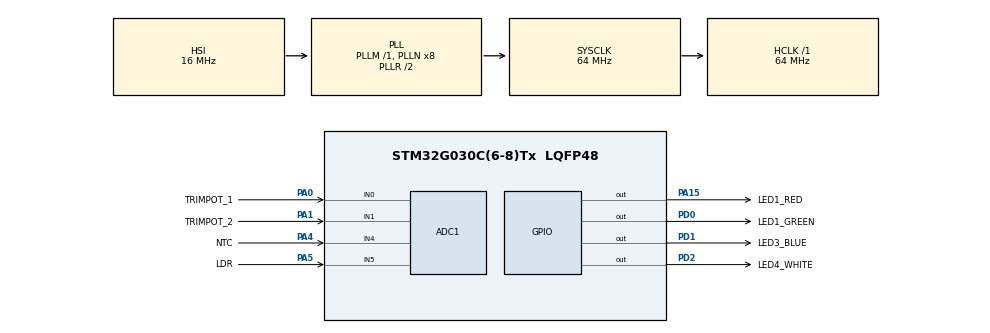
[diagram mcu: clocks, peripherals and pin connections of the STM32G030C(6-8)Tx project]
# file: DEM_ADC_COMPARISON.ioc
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ADC1.Channel-0\#ChannelRegularConversion=ADC_CHANNEL_0
ADC1.Channel-1\#ChannelRegularConversion=ADC_CHANNEL_1
ADC1.Channel-2\#ChannelRegularConversion=ADC_CHANNEL_4
ADC1.Channel-3\#ChannelRegularConversion=ADC_CHANNEL_5
ADC1.ClockPrescaler=ADC_CLOCK_SYNC_PCLK_DIV2
ADC1.ContinuousConvMode=DISABLE
ADC1.DMAContinuousRequests=ENABLE
ADC1.EOCSelection=ADC_EOC_SEQ_CONV
ADC1.ExternalTrigConv=ADC_EXTERNALTRIG_T1_TRGO2
ADC1.NbrOfConversion=4
ADC1.NbrOfConversionFlag=1
ADC1.Rank-0\#ChannelRegularConversion=1
ADC1.Rank-1\#ChannelRegularConversion=2
ADC1.Rank-2\#ChannelRegularConversion=3
ADC1.Rank-3\#ChannelRegularConversion=4
ADC1.SamplingTime-0\#ChannelRegularConversion=ADC_SAMPLINGTIME_COMMON_1
ADC1.SamplingTime-1\#ChannelRegularConversion=ADC_SAMPLINGTIME_COMMON_1
ADC1.SamplingTime-2\#ChannelRegularConversion=ADC_SAMPLINGTIME_COMMON_1
ADC1.SamplingTime-3\#ChannelRegularConversion=ADC_SAMPLINGTIME_COMMON_1
ADC1.SamplingTimeCommon1=ADC_SAMPLETIME_79CYCLES_5
ADC1.SamplingTimeCommon2=ADC_SAMPLETIME_79CYCLES_5
ADC1.SelectedChannel=ADC_CHANNEL_0|ADC_CHANNEL_1|ADC_CHANNEL_4|ADC_CHANNEL_5
ADC1.master=1
Dma.ADC1.0.Direction=DMA_PERIPH_TO_MEMORY
Dma.ADC1.0.EventEnable=DISABLE
Dma.ADC1.0.Instance=DMA1_Channel1
Dma.ADC1.0.MemDataAlignment=DMA_MDATAALIGN_HALFWORD
Dma.ADC1.0.MemInc=DMA_MINC_ENABLE
Dma.ADC1.0.Mode=DMA_CIRCULAR
Dma.ADC1.0.PeriphDataAlignment=DMA_PDATAALIGN_HALFWORD
Dma.ADC1.0.PeriphInc=DMA_PINC_DISABLE
Dma.ADC1.0.Polarity=HAL_DMAMUX_REQ_GEN_RISING
Dma.ADC1.0.Priority=DMA_PRIORITY_LOW
Dma.ADC1.0.RequestNumber=1
Dma.ADC1.0.SignalID=NONE
Dma.ADC1.0.SyncEnable=DISABLE
Dma.ADC1.0.SyncPolarity=HAL_DMAMUX_SYNC_NO_EVENT
Dma.ADC1.0.SyncRequestNumber=1
Dma.ADC1.0.SyncSignalID=NONE
Dma.Request0=ADC1
Mcu.Family=STM32G0
Mcu.Name=STM32G030C(6-8)Tx
Mcu.Package=LQFP48
NVIC.ADC1_IRQn=true\:0\:0\:false\:false\:true\:true\:true\:true
NVIC.DMA1_Channel1_IRQn=true\:0\:0\:false\:false\:true\:false\:true\:true
PA0.GPIO_Label=TRIMPOT_1
PA0.Mode=IN0
PA0.Signal=ADC1_IN0
PA1.GPIO_Label=TRIMPOT_2
PA1.Mode=IN1
PA1.Signal=ADC1_IN1
PA15.GPIO_Label=LED1_RED
PA15.Signal=GPIO_Output
PA4.GPIO_Label=NTC
PA4.Mode=IN4
PA4.Signal=ADC1_IN4
PA5.GPIO_Label=LDR
PA5.Mode=IN5
PA5.Signal=ADC1_IN5
PD0.GPIO_Label=LED1_GREEN
PD0.Signal=GPIO_Output
PD1.GPIO_Label=LED3_BLUE
PD1.Signal=GPIO_Output
PD2.GPIO_Label=LED4_WHITE
PD2.Signal=GPIO_Output
PF0-OSC_IN\ (PF0).Mode=HSE-External-Oscillator
PF0-OSC_IN\ (PF0).Signal=RCC_OSC_IN
PF1-OSC_OUT\ (PF1).Mode=HSE-External-Oscillator
PF1-OSC_OUT\ (PF1).Signal=RCC_OSC_OUT
ProjectManager.HeapSize=0x200
ProjectManager.StackSize=0x400
ProjectManager.TargetToolchain=STM32CubeIDE
RCC.ADCFreq_Value=64000000
RCC.AHBFreq_Value=64000000
RCC.CortexFreq_Value=64000000
RCC.EXTERNAL_CLOCK_VALUE=12288000
RCC.HCLKFreq_Value=64000000
RCC.HSE_VALUE=8000000
RCC.HSI_VALUE=16000000
RCC.LSE_VALUE=32768
RCC.SYSCLKFreq_VALUE=64000000
RCC.SYSCLKSource=RCC_SYSCLKSOURCE_PLLCLK
RCC.VCOOutputFreq_Value=128000000
TIM1.Period=1000-1
TIM1.Prescaler=6400-1
TIM1.TIM_MasterOutputTrigger=TIM_TRGO_RESET
TIM1.TIM_MasterOutputTrigger2=TIM_TRGO2_UPDATE
VP_TIM1_VS_ClockSourceINT.Mode=Internal
board=custom

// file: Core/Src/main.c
/* USER CODE BEGIN Header */
/**
  ******************************************************************************
  * @file           : main.c
  * @brief          : Main program body
  ******************************************************************************
  * @attention
  *
  * Copyright (c) 2025 STMicroelectronics.
  * All rights reserved.
  *
  * This software is licensed under terms that can be found in the LICENSE file
  * in the root directory of this software component.
  * If no LICENSE file comes with this software, it is provided AS-IS.
  *
  ******************************************************************************
  */
/* USER CODE END Header */
#include "main.h"

/* USER CODE BEGIN PTD */
// ==========================================================
// ** ADC OPERATION MODE SELECTION **
// ACTIVATE ONLY ONE MODE (UNCOMMENT THE LINE)
// SEE 'ADC_CONFIG_GUIDE.c' FOR INSTRUCTIONS!
// ==========================================================
// #define ADC_MODE_SELECTION 1 // Multi-Channel Polling
// #define ADC_MODE_SELECTION 2 // DMA Normal
// #define ADC_MODE_SELECTION 3 // DMA Circular
// #define ADC_MODE_SELECTION 4 // Timer Triggered
/* USER CODE END PTD */

/* USER CODE BEGIN PD */
int isADCFinished = 0; // Flag for MOD 2: DMA Normal Mode
volatile uint16_t ADC_VAL[4]; // Array for Regular group (4 channels)
int count = 0; // Application variable
/* USER CODE END PD */

ADC_HandleTypeDef hadc1;
DMA_HandleTypeDef hdma_adc1;

TIM_HandleTypeDef htim1;

void SystemClock_Config(void);
static void MX_GPIO_Init(void);
static void MX_DMA_Init(void);
static void MX_ADC1_Init(void);
static void MX_TIM1_Init(void);

int main(void)
{

  /* MCU Configuration--------------------------------------------------------*/

  /* Reset of all peripherals, Initializes the Flash interface and the Systick. */
  HAL_Init();

  /* Configure the system clock */
  SystemClock_Config();

  /* Initialize all configured peripherals */
  MX_GPIO_Init();
  MX_DMA_Init();
  MX_ADC1_Init();
  MX_TIM1_Init();
  /* USER CODE BEGIN 2 */
#if (ADC_MODE_SELECTION == 2 || ADC_MODE_SELECTION == 3 || ADC_MODE_SELECTION == 4)
  HAL_ADC_Start_DMA(&hadc1, (uint32_t*)ADC_VAL, 4);
#endif
#if ( ADC_MODE_SELECTION == 4 )
  HAL_TIM_Base_Start(&htim1);
#endif
  /* USER CODE END 2 */

  /* Infinite loop */
  while (1)
    {

    /* USER CODE BEGIN 3 */

      // =========================================================================
      // MODE-SPECIFIC WHILE(1) LOGIC
      // =========================================================================

      #if (ADC_MODE_SELECTION == 1)
	  count++;
        // MOD 1: Call polling functions
	  	  HAL_ADC_Start(&hadc1);
	  	  HAL_ADC_PollForConversion(&hadc1, 100);
	  	  ADC_VAL[0] = HAL_ADC_GetValue(&hadc1);

	  	  HAL_ADC_Start(&hadc1);
	  	  HAL_ADC_PollForConversion(&hadc1, 100);
	  	  ADC_VAL[1] = HAL_ADC_GetValue(&hadc1);

	  	  HAL_ADC_Start(&hadc1);
	  	  HAL_ADC_PollForConversion(&hadc1, 100);
	  	  ADC_VAL[2] = HAL_ADC_GetValue(&hadc1);

	  	  HAL_ADC_Start(&hadc1);
	  	  HAL_ADC_PollForConversion(&hadc1, 100);
	  	  ADC_VAL[3] = HAL_ADC_GetValue(&hadc1);
	  	  HAL_ADC_Stop(&hadc1);

	  	HAL_GPIO_TogglePin(GPIOA, GPIO_PIN_15);
	  	HAL_Delay(250);
      #elif (ADC_MODE_SELECTION == 2)
        // MOD 2: Check flag and restart DMA
	  	count++;
	  	HAL_Delay(100); // Other tasks
        if (isADCFinished == 1)
        {
            isADCFinished = 0;
            // Process data in ADC_VAL here...
            HAL_ADC_Start_DMA(&hadc1, (uint32_t*)ADC_VAL, 4); // Restart DMA
        }
	  #elif (ADC_MODE_SELECTION == 3)
        count++;
        HAL_Delay(100);

      #else
        // MOD 4 ADC runs in background.
	#endif
    }
  /* USER CODE END 3 */
}

void SystemClock_Config(void)
{
  RCC_OscInitTypeDef RCC_OscInitStruct = {0};
  RCC_ClkInitTypeDef RCC_ClkInitStruct = {0};

  /** Configure the main internal regulator output voltage
  */
  HAL_PWREx_ControlVoltageScaling(PWR_REGULATOR_VOLTAGE_SCALE1);

  /** Initializes the RCC Oscillators according to the specified parameters
  * in the RCC_OscInitTypeDef structure.
  */
  RCC_OscInitStruct.OscillatorType = RCC_OSCILLATORTYPE_HSI;
  RCC_OscInitStruct.HSIState = RCC_HSI_ON;
  RCC_OscInitStruct.HSIDiv = RCC_HSI_DIV1;
  RCC_OscInitStruct.HSICalibrationValue = RCC_HSICALIBRATION_DEFAULT;
  RCC_OscInitStruct.PLL.PLLState = RCC_PLL_ON;
  RCC_OscInitStruct.PLL.PLLSource = RCC_PLLSOURCE_HSI;
  RCC_OscInitStruct.PLL.PLLM = RCC_PLLM_DIV1;
  RCC_OscInitStruct.PLL.PLLN = 8;
  RCC_OscInitStruct.PLL.PLLP = RCC_PLLP_DIV2;
  RCC_OscInitStruct.PLL.PLLR = RCC_PLLR_DIV2;
  if (HAL_RCC_OscConfig(&RCC_OscInitStruct) != HAL_OK)
  {
    Error_Handler();
  }

  /** Initializes the CPU, AHB and APB buses clocks
  */
  RCC_ClkInitStruct.ClockType = RCC_CLOCKTYPE_HCLK|RCC_CLOCKTYPE_SYSCLK
                              |RCC_CLOCKTYPE_PCLK1;
  RCC_ClkInitStruct.SYSCLKSource = RCC_SYSCLKSOURCE_PLLCLK;
  RCC_ClkInitStruct.AHBCLKDivider = RCC_SYSCLK_DIV1;
  RCC_ClkInitStruct.APB1CLKDivider = RCC_HCLK_DIV1;

  if (HAL_RCC_ClockConfig(&RCC_ClkInitStruct, FLASH_LATENCY_2) != HAL_OK)
  {
    Error_Handler();
  }
}

static void MX_ADC1_Init(void)
{

  ADC_ChannelConfTypeDef sConfig = {0};

  /** Configure the global features of the ADC (Clock, Resolution, Data Alignment and number of conversion)
  */
  hadc1.Instance = ADC1;
  hadc1.Init.ClockPrescaler = ADC_CLOCK_SYNC_PCLK_DIV2;
  hadc1.Init.Resolution = ADC_RESOLUTION_12B;
  hadc1.Init.DataAlign = ADC_DATAALIGN_RIGHT;
  hadc1.Init.ScanConvMode = ADC_SCAN_ENABLE;
  hadc1.Init.EOCSelection = ADC_EOC_SEQ_CONV;
  hadc1.Init.LowPowerAutoWait = DISABLE;
  hadc1.Init.LowPowerAutoPowerOff = DISABLE;
  hadc1.Init.ContinuousConvMode = DISABLE;
  hadc1.Init.NbrOfConversion = 4;
  hadc1.Init.DiscontinuousConvMode = DISABLE;
  hadc1.Init.ExternalTrigConv = ADC_EXTERNALTRIG_T1_TRGO2;
  hadc1.Init.ExternalTrigConvEdge = ADC_EXTERNALTRIGCONVEDGE_RISING;
  hadc1.Init.DMAContinuousRequests = ENABLE;
  hadc1.Init.Overrun = ADC_OVR_DATA_PRESERVED;
  hadc1.Init.SamplingTimeCommon1 = ADC_SAMPLETIME_79CYCLES_5;
  hadc1.Init.SamplingTimeCommon2 = ADC_SAMPLETIME_79CYCLES_5;
  hadc1.Init.OversamplingMode = DISABLE;
  hadc1.Init.TriggerFrequencyMode = ADC_TRIGGER_FREQ_HIGH;
  if (HAL_ADC_Init(&hadc1) != HAL_OK)
  {
    Error_Handler();
  }

  /** Configure Regular Channel
  */
  sConfig.Channel = ADC_CHANNEL_0;
  sConfig.Rank = ADC_REGULAR_RANK_1;
  sConfig.SamplingTime = ADC_SAMPLINGTIME_COMMON_1;
  if (HAL_ADC_ConfigChannel(&hadc1, &sConfig) != HAL_OK)
  {
    Error_Handler();
  }

  /** Configure Regular Channel
  */
  sConfig.Channel = ADC_CHANNEL_1;
  sConfig.Rank = ADC_REGULAR_RANK_2;
  if (HAL_ADC_ConfigChannel(&hadc1, &sConfig) != HAL_OK)
  {
    Error_Handler();
  }

  /** Configure Regular Channel
  */
  sConfig.Channel = ADC_CHANNEL_4;
  sConfig.Rank = ADC_REGULAR_RANK_3;
  if (HAL_ADC_ConfigChannel(&hadc1, &sConfig) != HAL_OK)
  {
    Error_Handler();
  }

  /** Configure Regular Channel
  */
  sConfig.Channel = ADC_CHANNEL_5;
  sConfig.Rank = ADC_REGULAR_RANK_4;
  if (HAL_ADC_ConfigChannel(&hadc1, &sConfig) != HAL_OK)
  {
    Error_Handler();
  }

}

static void MX_TIM1_Init(void)
{

  TIM_ClockConfigTypeDef sClockSourceConfig = {0};
  TIM_MasterConfigTypeDef sMasterConfig = {0};

  htim1.Instance = TIM1;
  htim1.Init.Prescaler = 6400-1;
  htim1.Init.CounterMode = TIM_COUNTERMODE_UP;
  htim1.Init.Period = 1000-1;
  htim1.Init.ClockDivision = TIM_CLOCKDIVISION_DIV1;
  htim1.Init.RepetitionCounter = 0;
  htim1.Init.AutoReloadPreload = TIM_AUTORELOAD_PRELOAD_DISABLE;
  if (HAL_TIM_Base_Init(&htim1) != HAL_OK)
  {
    Error_Handler();
  }
  sClockSourceConfig.ClockSource = TIM_CLOCKSOURCE_INTERNAL;
  if (HAL_TIM_ConfigClockSource(&htim1, &sClockSourceConfig) != HAL_OK)
  {
    Error_Handler();
  }
  sMasterConfig.MasterOutputTrigger = TIM_TRGO_RESET;
  sMasterConfig.MasterOutputTrigger2 = TIM_TRGO2_UPDATE;
  sMasterConfig.MasterSlaveMode = TIM_MASTERSLAVEMODE_DISABLE;
  if (HAL_TIMEx_MasterConfigSynchronization(&htim1, &sMasterConfig) != HAL_OK)
  {
    Error_Handler();
  }

}

static void MX_DMA_Init(void)
{

  /* DMA controller clock enable */
  __HAL_RCC_DMA1_CLK_ENABLE();

  /* DMA interrupt init */
  /* DMA1_Channel1_IRQn interrupt configuration */
  HAL_NVIC_SetPriority(DMA1_Channel1_IRQn, 0, 0);
  HAL_NVIC_EnableIRQ(DMA1_Channel1_IRQn);

}

static void MX_GPIO_Init(void)
{
  GPIO_InitTypeDef GPIO_InitStruct = {0};

  /* GPIO Ports Clock Enable */
  __HAL_RCC_GPIOF_CLK_ENABLE();
  __HAL_RCC_GPIOA_CLK_ENABLE();
  __HAL_RCC_GPIOD_CLK_ENABLE();

  /*Configure GPIO pin Output Level */
  HAL_GPIO_WritePin(LED1_RED_GPIO_Port, LED1_RED_Pin, GPIO_PIN_RESET);

  /*Configure GPIO pin Output Level */
  HAL_GPIO_WritePin(GPIOD, LED1_GREEN_Pin|LED3_BLUE_Pin|LED4_WHITE_Pin, GPIO_PIN_RESET);

  /*Configure GPIO pin : LED1_RED_Pin */
  GPIO_InitStruct.Pin = LED1_RED_Pin;
  GPIO_InitStruct.Mode = GPIO_MODE_OUTPUT_PP;
  GPIO_InitStruct.Pull = GPIO_NOPULL;
  GPIO_InitStruct.Speed = GPIO_SPEED_FREQ_LOW;
  HAL_GPIO_Init(LED1_RED_GPIO_Port, &GPIO_InitStruct);

  /*Configure GPIO pins : LED1_GREEN_Pin LED3_BLUE_Pin LED4_WHITE_Pin */
  GPIO_InitStruct.Pin = LED1_GREEN_Pin|LED3_BLUE_Pin|LED4_WHITE_Pin;
  GPIO_InitStruct.Mode = GPIO_MODE_OUTPUT_PP;
  GPIO_InitStruct.Pull = GPIO_NOPULL;
  GPIO_InitStruct.Speed = GPIO_SPEED_FREQ_LOW;
  HAL_GPIO_Init(GPIOD, &GPIO_InitStruct);

}

/* USER CODE BEGIN 4 */
#if (ADC_MODE_SELECTION == 2)
void HAL_ADC_ConvCpltCallback(ADC_HandleTypeDef *hadc)
{
    isADCFinished = 1;
    HAL_GPIO_TogglePin(GPIOD, GPIO_PIN_0);
}
#elif (ADC_MODE_SELECTION == 3)
void HAL_ADC_ConvCpltCallback(ADC_HandleTypeDef *hadc)
{

    HAL_GPIO_TogglePin(GPIOD, GPIO_PIN_1);
}
#elif (ADC_MODE_SELECTION == 4)
void HAL_ADC_ConvCpltCallback(ADC_HandleTypeDef *hadc)
{

    HAL_GPIO_TogglePin(GPIOD, GPIO_PIN_2);
}
#endif
/* USER CODE END 4 */

void Error_Handler(void)
{
  __disable_irq();
  while (1)
  {
  }
}
